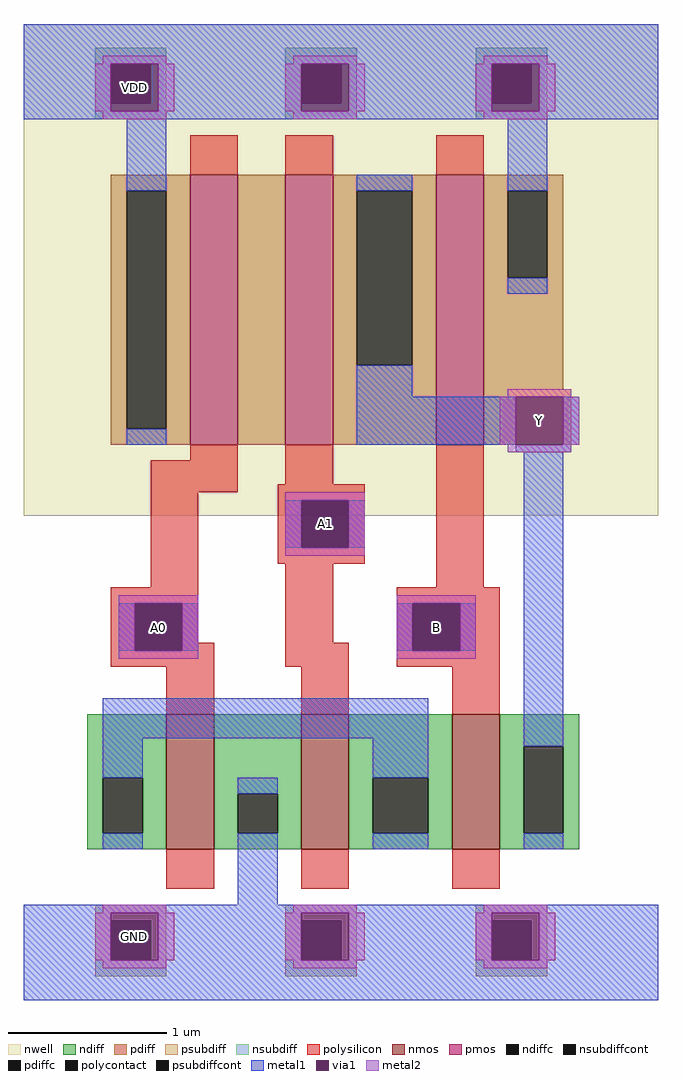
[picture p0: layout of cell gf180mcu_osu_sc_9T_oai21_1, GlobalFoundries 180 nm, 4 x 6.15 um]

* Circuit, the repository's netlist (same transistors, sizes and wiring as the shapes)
* NGSPICE file created from gf180mcu_osu_sc_9T_oai21_1.ext - technology: gf180mcuC

.inc "/import/yukari1/lrburle/globalfoundries-pdk-libs-gf180mcu_osu_sc/char/techfiles/design.hspice"
.lib "/import/yukari1/lrburle/globalfoundries-pdk-libs-gf180mcu_osu_sc/char/techfiles/sm141064.hspice" typical

X0 a_27_70# A0 VDD VDD pmos_3p3 w=1.7u l=0.3u
X1 Y A1 a_27_70# VDD pmos_3p3 w=1.7u l=0.3u
X2 Y B a_8_19# GND nmos_3p3 w=0.85u l=0.3u
X3 GND A0 a_8_19# GND nmos_3p3 w=0.85u l=0.3u
X4 VDD B Y VDD pmos_3p3 w=1.7u l=0.3u
X5 a_8_19# A1 GND GND nmos_3p3 w=0.85u l=0.3u

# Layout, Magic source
magic
tech gf180mcuC
<< nwell >>
rect 0 97 80 159
<< nmos >>
rect 18 55 24 72
rect 35 55 41 72
rect 54 55 60 72
<< pmos >>
rect 21 106 27 140
rect 33 106 39 140
rect 52 106 58 140
<< ndiff >>
rect 8 64 18 72
rect 8 57 10 64
rect 15 57 18 64
rect 8 55 18 57
rect 24 62 35 72
rect 24 57 27 62
rect 32 57 35 62
rect 24 55 35 57
rect 41 64 54 72
rect 41 57 44 64
rect 51 57 54 64
rect 41 55 54 57
rect 60 68 70 72
rect 60 57 63 68
rect 68 57 70 68
rect 60 55 70 57
<< pdiff >>
rect 11 138 21 140
rect 11 108 13 138
rect 18 108 21 138
rect 11 106 21 108
rect 27 106 33 140
rect 39 138 52 140
rect 39 116 42 138
rect 49 116 52 138
rect 39 106 52 116
rect 58 138 68 140
rect 58 127 61 138
rect 66 127 68 138
rect 58 113 68 127
rect 58 106 69 113
<< ndiffc >>
rect 10 57 15 64
rect 27 57 32 62
rect 44 57 51 64
rect 63 57 68 68
<< pdiffc >>
rect 13 108 18 138
rect 42 116 49 138
rect 61 127 66 138
<< psubdiff >>
rect 9 46 18 48
rect 9 41 11 46
rect 16 41 18 46
rect 9 39 18 41
rect 33 46 42 48
rect 33 41 35 46
rect 40 41 42 46
rect 33 39 42 41
rect 57 46 66 48
rect 57 41 59 46
rect 64 41 66 46
rect 57 39 66 41
<< nsubdiff >>
rect 9 154 18 156
rect 9 149 11 154
rect 16 149 18 154
rect 9 147 18 149
rect 33 154 42 156
rect 33 149 35 154
rect 40 149 42 154
rect 33 147 42 149
rect 57 154 66 156
rect 57 149 59 154
rect 64 149 66 154
rect 57 147 66 149
<< psubdiffcont >>
rect 11 41 16 46
rect 35 41 40 46
rect 59 41 64 46
<< nsubdiffcont >>
rect 11 149 16 154
rect 35 149 40 154
rect 59 149 64 154
<< polysilicon >>
rect 21 140 27 145
rect 33 140 39 145
rect 52 140 58 145
rect 21 104 27 106
rect 16 100 27 104
rect 33 101 39 106
rect 16 88 22 100
rect 32 99 43 101
rect 32 93 35 99
rect 41 93 43 99
rect 32 91 43 93
rect 11 86 22 88
rect 11 80 14 86
rect 20 81 22 86
rect 33 81 39 91
rect 52 88 58 106
rect 47 86 60 88
rect 20 80 24 81
rect 11 78 24 80
rect 33 78 41 81
rect 47 80 49 86
rect 55 80 60 86
rect 47 78 60 80
rect 18 72 24 78
rect 35 72 41 78
rect 54 72 60 78
rect 18 50 24 55
rect 35 50 41 55
rect 54 50 60 55
<< polycontact >>
rect 35 93 41 99
rect 14 80 20 86
rect 49 80 55 86
<< metal1 >>
rect 0 154 80 159
rect 0 148 11 154
rect 17 148 35 154
rect 41 148 59 154
rect 65 148 80 154
rect 0 147 80 148
rect 13 138 18 147
rect 13 106 18 108
rect 42 138 49 140
rect 61 138 66 147
rect 61 125 66 127
rect 42 112 49 116
rect 42 106 62 112
rect 68 106 70 112
rect 62 105 69 106
rect 33 93 35 99
rect 41 93 43 99
rect 12 80 14 86
rect 20 80 22 86
rect 47 80 49 86
rect 55 80 57 86
rect 10 69 51 74
rect 10 64 15 69
rect 44 64 51 69
rect 10 55 15 57
rect 27 62 32 64
rect 27 48 32 57
rect 44 55 51 57
rect 63 68 68 105
rect 63 55 68 57
rect 0 47 80 48
rect 0 41 11 47
rect 17 41 35 47
rect 41 41 59 47
rect 65 41 80 47
rect 0 36 80 41
<< via1 >>
rect 11 149 16 154
rect 16 149 17 154
rect 11 148 17 149
rect 35 149 40 154
rect 40 149 41 154
rect 35 148 41 149
rect 59 149 64 154
rect 64 149 65 154
rect 59 148 65 149
rect 62 106 68 112
rect 35 93 41 99
rect 14 80 20 86
rect 49 80 55 86
rect 11 46 17 47
rect 11 41 16 46
rect 16 41 17 46
rect 35 46 41 47
rect 35 41 40 46
rect 40 41 41 46
rect 59 46 65 47
rect 59 41 64 46
rect 64 41 65 46
<< metal2 >>
rect 10 154 18 155
rect 34 154 42 155
rect 58 154 66 155
rect 9 148 11 154
rect 17 148 19 154
rect 33 148 35 154
rect 41 148 43 154
rect 57 148 59 154
rect 65 148 67 154
rect 10 147 18 148
rect 34 147 42 148
rect 58 147 66 148
rect 61 112 69 113
rect 60 106 62 112
rect 68 106 70 112
rect 61 105 69 106
rect 33 99 43 100
rect 33 93 35 99
rect 41 93 43 99
rect 33 92 43 93
rect 12 86 22 87
rect 12 80 14 86
rect 20 80 22 86
rect 12 79 22 80
rect 47 86 57 87
rect 47 80 49 86
rect 55 80 57 86
rect 47 79 57 80
rect 10 47 18 48
rect 34 47 42 48
rect 58 47 66 48
rect 9 41 11 47
rect 17 41 19 47
rect 33 41 35 47
rect 41 41 43 47
rect 57 41 59 47
rect 65 41 67 47
rect 10 40 18 41
rect 34 40 42 41
rect 58 40 66 41
<< labels >>
rlabel metal2 14 151 14 151 1 VDD
rlabel metal2 14 44 14 44 1 GND
rlabel metal2 17 83 17 83 1 A0
port 5 n
rlabel metal2 38 96 38 96 1 A1
port 6 n
rlabel metal2 52 83 52 83 1 B
port 7 n
rlabel metal2 65 109 65 109 1 Y
port 4 n
<< end >>
